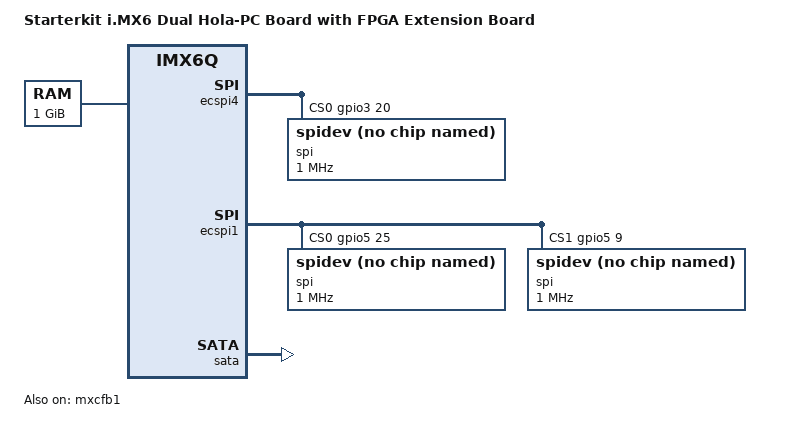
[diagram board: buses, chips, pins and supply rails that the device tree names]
/*
 * Copyright 2014 starterkit.ru
 *
 * The code contained herein is licensed under the GNU General Public
 * License V2.
 */

/dts-v1/;

#include "imx6q.dtsi"
#include "imx6qdl-hola.dtsi"

/ {
	model = "Starterkit i.MX6 Dual Hola-PC Board with FPGA Extension Board";
	compatible = "sk,imx6q-hola", "fsl,imx6q-sabresd", "fsl,imx6q";

	memory {
		reg = <0x10000000 0x40000000>;
	};
};

&ecspi4 { /* spi1 */
	pinctrl-names = "default";
	pinctrl-0 = <&pinctrl_ecspi4_hola>;
	fsl,spi-num-chipselects = <1>;
	cs-gpios = <&gpio3 20 0>;
	status = "okay";

	spi@0 {
		compatible = "spidev";
		reg = <0>;
		spi-max-frequency = <1000000>;
	};
};

&ecspi1 { /* spi2 */
	pinctrl-names = "default";
	pinctrl-0 = <&pinctrl_ecspi1_hola>;
	fsl,spi-num-chipselects = <2>;
	cs-gpios = <&gpio5 25 0>, <&gpio5 9 0>;
	status = "okay";

	spi@0 {
		compatible = "spidev";
		reg = <0>;
		spi-max-frequency = <1000000>;
	};

	spi@1 {
		compatible = "spidev";
		reg = <1>;
		spi-max-frequency = <1000000>;
	};
};

&mxcfb1 {
	status = "okay";
};

&sata {
	status = "okay";
};
